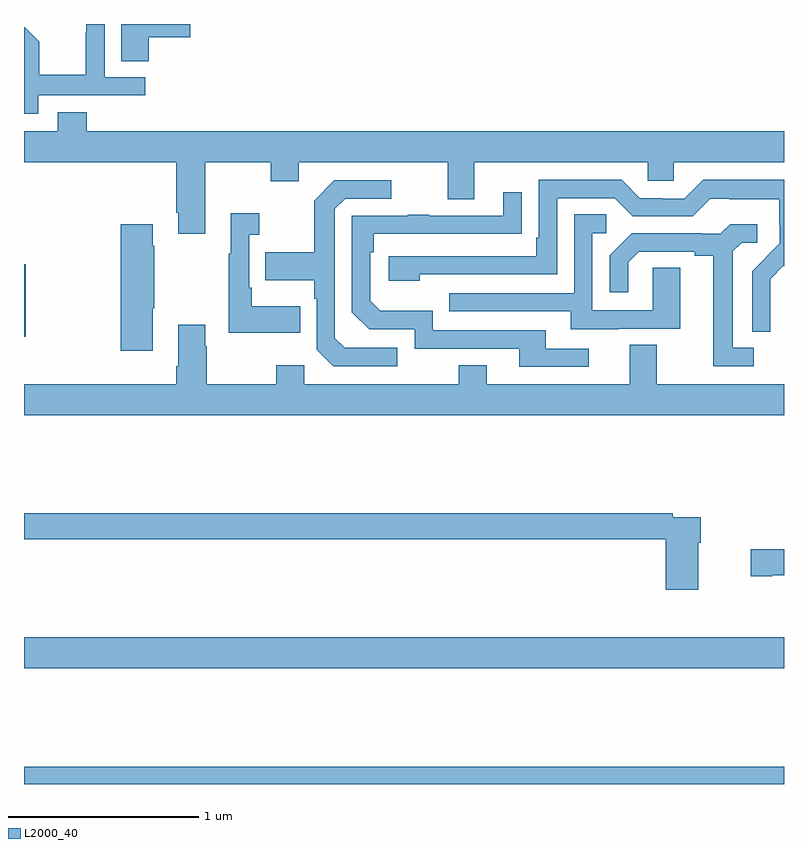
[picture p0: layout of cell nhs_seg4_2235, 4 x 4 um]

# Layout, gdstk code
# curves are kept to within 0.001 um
import gdstk
lib = gdstk.Library(unit=1e-6, precision=1e-09)
def R(c, l, rs):  # rectangles x0, y0, x1, y1
    for r in rs: c.add(gdstk.rectangle(r[:2], r[2:], *l))
def P(c, l, *ps):  # polygons
    for p in ps: c.add(gdstk.Polygon(p, *l))
L2000_40 = (2000, 40)

nhs_seg4_2235 = lib.new_cell('nhs_seg4_2235')
R(nhs_seg4_2235, L2000_40, [(227,774.9,231,774.992), (227,775.508,231,775.672), (227,777.255,227.009,777.636)])
P(nhs_seg4_2235, L2000_40, [(227.657,778.829),(227.875,778.829),(227.875,778.9),(227.513,778.9),(227.513,778.705),(227.657,778.705)],
  [(227.076,778.524),(227.638,778.524),(227.638,778.62),(227.424,778.62),(227.424,778.9),(227.328,778.9),(227.328,778.856),(227.326,778.856),(227.326,778.633),(227.081,778.633),(227.081,778.807),(227.004,778.884),(227.001,778.881),(227,778.882),(227,778.427),(227.076,778.427)],
  [(227.953,778.172),(228.298,778.172),(228.298,778.073),(228.445,778.073),(228.445,778.172),(229.229,778.172),(229.229,777.978),(229.369,777.978),(229.369,778.172),(230.283,778.172),(230.283,778.074),(230.421,778.074),(230.421,778.172),(231,778.172),(231,778.336),(227.33,778.336),(227.33,778.435),(227.177,778.435),(227.177,778.336),(227,778.336),(227,778.172),(227.801,778.172),(227.801,777.907),(227.813,777.907),(227.813,777.795),(227.953,777.795)],
  [(230.928,777.434),(230.927,777.557),(230.997,777.627),(231,777.624),(231,778.081),(230.575,778.081),(230.475,777.981),(230.36,777.981),(230.36,777.984),(230.241,777.984),(230.145,778.08),(229.71,778.08),(229.71,777.775),(229.697,777.775),(229.697,777.678),(228.921,777.678),(228.921,777.548),(229.082,777.548),(229.082,777.582),(229.806,777.582),(229.806,777.984),(230.109,777.984),(230.205,777.888),(230.52,777.888),(230.613,777.981),(230.713,777.981),(230.713,777.977),(230.976,777.977),(230.976,777.843),(230.978,777.843),(230.978,777.746),(230.832,777.598),(230.832,777.28),(230.928,777.28)],
  [(228.964,777.195),(228.687,777.195),(228.636,777.246),(228.636,777.927),(228.69,777.981),(228.934,777.981),(228.934,778.077),(228.633,778.077),(228.528,777.971),(228.528,777.699),(228.271,777.699),(228.271,777.551),(228.528,777.551),(228.528,777.455),(228.54,777.455),(228.54,777.186),(228.627,777.099),(228.964,777.099)],
  [(229.972,777.192),(229.747,777.192),(229.747,777.288),(229.152,777.288),(229.152,777.391),(228.875,777.391),(228.822,777.444),(228.822,777.698),(228.842,777.698),(228.842,777.795),(229.619,777.796),(229.619,778.015),(229.523,778.015),(229.523,777.891),(229.133,777.891),(229.133,777.896),(229.021,777.896),(229.021,777.891),(228.726,777.891),(228.726,777.384),(228.816,777.294),(229.056,777.294),(229.056,777.192),(229.607,777.192),(229.607,777.096),(229.972,777.096)],
  [(228.455,777.415),(228.199,777.415),(228.199,777.511),(228.186,777.511),(228.186,777.791),(228.238,777.791),(228.238,777.904),(228.089,777.904),(228.089,777.691),(228.078,777.691),(228.078,777.275),(228.455,777.275)],
  [(230.131,777.297),(230.455,777.297),(230.455,777.617),(230.31,777.617),(230.31,777.393),(229.992,777.393),(229.992,777.798),(230.065,777.798),(230.065,777.899),(229.896,777.899),(229.896,777.483),(229.237,777.483),(229.237,777.387),(229.877,777.387),(229.877,777.293),(230.131,777.293)],
  [(230.842,777.195),(230.731,777.195),(230.731,777.703),(230.778,777.75),(230.86,777.75),(230.86,777.847),(230.716,777.847),(230.664,777.795),(230.57,777.795),(230.57,777.798),(230.198,777.798),(230.082,777.682),(230.082,777.489),(230.179,777.489),(230.179,777.645),(230.236,777.702),(230.531,777.702),(230.531,777.68),(230.627,777.68),(230.627,777.099),(230.842,777.099)],
  [(227.677,777.403),(227.685,777.403),(227.685,777.734),(227.677,777.734),(227.677,777.847),(227.51,777.847),(227.51,777.18),(227.677,777.18)],
  [(231,777.004),(230.329,777.004),(230.329,777.212),(230.189,777.212),(230.189,777.004),(229.435,777.004),(229.435,777.103),(229.288,777.103),(229.288,777.004),(228.474,777.004),(228.474,777.103),(228.328,777.103),(228.328,777.004),(227.961,777.004),(227.961,777.203),(227.953,777.203),(227.953,777.316),(227.813,777.316),(227.813,777.1),(227.801,777.1),(227.801,777.004),(227,777.004),(227,776.84),(231,776.84)],
  [(230.548,776.171),(230.561,776.171),(230.561,776.304),(230.414,776.304),(230.414,776.324),(227,776.324),(227,776.188),(230.378,776.188),(230.378,775.923),(230.548,775.923)],
  [(230.938,776),(231,776),(231,776.135),(230.826,776.135),(230.826,775.993),(230.938,775.993)])

lib.write_gds('nhs_seg4_2235.gds')
